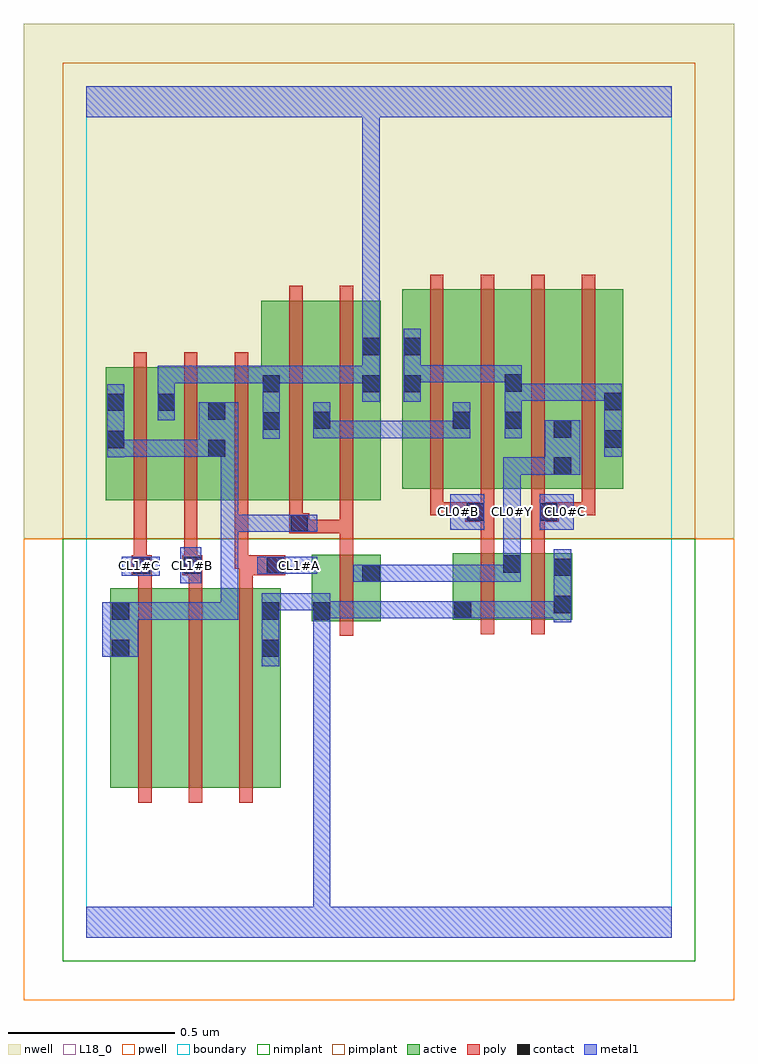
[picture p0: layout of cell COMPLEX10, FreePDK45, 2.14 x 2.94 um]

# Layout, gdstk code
import gdstk
lib = gdstk.Library(unit=1e-6, precision=1e-09)
def R(c, l, rs):  # rectangles x0, y0, x1, y1
    for r in rs: c.add(gdstk.rectangle(r[:2], r[2:], *l))
def A(c, l, x, y, w, h, nx, ny, dx, dy):  # array of equal rectangles
    R(c, l, [(x+i*dx, y+j*dy, x+i*dx+w, y+j*dy+h) for i in range(nx) for j in range(ny)])
active = (1, 0)
pwell = (2, 0)
nwell = (3, 0)
nimplant = (4, 0)
pimplant = (5, 0)
poly = (9, 0)
contact = (10, 0)
metal1 = (11, 0)
L18_0 = (18, 0)
boundary = (235, 0)

complex10 = lib.new_cell('COMPLEX10')
R(complex10, active, [(0.072,0.45,0.252,1.05), (0.072,0.45,0.132,1.05), (0.252,0.45,0.404,1.05), (0.404,0.45,0.584,1.05), (0.524,0.556,0.584,1.05), (0.678,0.952,0.738,1.152), (0.678,0.952,0.886,1.152), (0.826,0.952,0.886,1.152), (1.102,0.956,1.162,1.156), (1.102,0.956,1.31,1.156), (1.25,0.956,1.462,1.156), (1.25,0.956,1.31,1.154), (1.402,0.956,1.462,1.156), (0.058,1.316,0.27,1.716), (0.058,1.316,0.118,1.716), (0.21,1.316,0.422,1.716), (0.362,1.316,0.586,1.716), (0.526,1.316,0.738,1.916), (0.678,1.316,0.886,1.916), (0.826,1.316,0.886,1.844), (0.95,1.35,1.01,1.95), (0.95,1.35,1.158,1.95), (1.098,1.35,1.158,1.95), (1.098,1.35,1.314,1.95), (1.254,1.35,1.462,1.95), (1.402,1.35,1.614,1.95), (1.554,1.35,1.614,1.844), (0.526,1.354,0.586,1.916), (1.402,1.388,1.462,1.844), (0.362,1.442,0.422,1.644), (0.678,1.526,0.738,1.844), (1.254,1.526,1.314,1.844), (0.21,1.58,0.27,1.644)])
R(complex10, pwell, [(-0.188,-0.188,1.948,1.2)])
R(complex10, nwell, [(-0.188,1.2,1.948,2.748)])
R(complex10, nimplant, [(-0.072,-0.072,1.832,1.2)])
R(complex10, pimplant, [(-0.072,1.2,1.832,2.632)])
A(complex10, poly, 0.156, 0.406, 0.04, 0.688, 3, 1, 0.152, 0)
A(complex10, poly, 0.156, 1.054, 0.04, 0.076, 3, 1, 0.152, 0)
A(complex10, poly, 0.142, 1.11, 0.04, 0.202, 3, 1, 0.152, 0)
A(complex10, poly, 1.034, 1.27, 0.04, 0.076, 4, 1, 0.152, 0)
A(complex10, poly, 0.142, 1.272, 0.04, 0.488, 3, 1, 0.152, 0)
A(complex10, poly, 1.034, 1.306, 0.04, 0.688, 4, 1, 0.152, 0)
R(complex10, poly, [(0.762,0.908,0.802,1.196), (1.186,0.912,1.226,1.2), (1.338,0.912,1.378,1.2), (0.136,1.09,0.196,1.15), (0.288,1.09,0.348,1.15), (0.308,1.09,0.348,1.13), (0.308,1.09,0.348,1.13), (0.46,1.09,0.598,1.15), (0.142,1.11,0.182,1.15), (0.142,1.11,0.182,1.15), (0.446,1.11,0.5,1.15), (0.46,1.11,0.5,1.15), (0.762,1.156,0.802,1.256), (1.186,1.16,1.226,1.29), (1.338,1.16,1.378,1.29), (0.61,1.216,0.67,1.276), (0.63,1.216,0.802,1.256), (0.762,1.216,0.802,1.256), (0.762,1.216,0.802,1.256), (0.762,1.216,0.802,1.256), (0.762,1.216,0.802,1.256), (0.762,1.216,0.802,1.256), (0.762,1.216,0.802,1.312), (0.61,1.236,0.65,1.312), (1.14,1.25,1.226,1.31), (1.338,1.25,1.42,1.31), (1.034,1.27,1.074,1.31), (1.034,1.27,1.226,1.31), (1.186,1.27,1.226,1.31), (1.186,1.27,1.226,1.31), (1.186,1.27,1.226,1.31), (1.186,1.27,1.226,1.31), (1.338,1.27,1.378,1.31), (1.338,1.27,1.378,1.31), (1.338,1.27,1.53,1.31), (1.49,1.27,1.53,1.31), (1.49,1.27,1.53,1.31), (1.49,1.27,1.53,1.31), (0.61,1.272,0.65,1.96), (0.762,1.272,0.802,1.96)])
R(complex10, contact, [(0.076,0.844,0.128,0.896), (0.528,0.844,0.58,0.896), (0.076,0.956,0.128,1.008), (0.528,0.956,0.58,1.008), (0.682,0.956,0.734,1.008), (1.106,0.96,1.158,1.012), (1.406,0.976,1.458,1.028), (0.83,1.07,0.882,1.122), (1.406,1.088,1.458,1.14), (0.14,1.094,0.192,1.146), (0.292,1.094,0.344,1.146), (0.542,1.094,0.594,1.146), (1.254,1.098,1.306,1.15), (0.614,1.22,0.666,1.272), (1.144,1.254,1.196,1.306), (1.364,1.254,1.416,1.306), (1.406,1.392,1.458,1.444), (0.366,1.446,0.418,1.498), (0.062,1.472,0.114,1.524), (1.558,1.474,1.61,1.526), (1.406,1.504,1.458,1.556), (0.53,1.528,0.582,1.58), (0.682,1.53,0.734,1.582), (1.102,1.53,1.154,1.582), (1.258,1.53,1.31,1.582), (0.366,1.558,0.418,1.61), (0.062,1.584,0.114,1.636), (0.214,1.584,0.266,1.636), (1.558,1.586,1.61,1.638), (0.53,1.64,0.582,1.692), (0.83,1.64,0.882,1.692), (0.954,1.64,1.006,1.692), (1.258,1.642,1.31,1.694), (0.83,1.752,0.882,1.804), (0.954,1.752,1.006,1.804)])
R(complex10, metal1, [(0,0,1.76,0.092), (0.682,0.04,0.734,0.092), (0.682,0.04,0.734,0.092), (0.682,0.04,0.734,0.092), (0.682,0.04,0.734,0.092), (0.682,0.04,0.734,0.092), (0.682,0.04,0.734,0.092), (0.682,0.04,0.734,0.092), (0.682,0.04,0.734,0.092), (0.682,0.04,0.734,0.092), (0.682,0.04,0.734,0.092), (0.682,0.04,0.734,0.092), (0.682,0.04,0.734,0.092), (0.682,0.04,0.734,0.092), (0.682,0.04,0.734,0.092), (0.682,0.04,0.734,0.98), (0.528,0.816,0.58,1.036), (0.048,0.844,0.156,1.008), (0.682,0.928,0.734,0.98), (0.682,0.928,0.734,0.98), (0.682,0.928,0.734,1.036), (1.406,0.948,1.458,1.168), (0.104,0.956,0.156,1.008), (0.104,0.956,0.156,1.008), (0.104,0.956,0.266,1.008), (0.214,0.956,0.266,1.008), (0.214,0.956,0.266,1.008), (0.214,0.956,0.266,1.008), (0.214,0.956,0.456,1.008), (0.404,0.956,0.456,1.008), (0.404,0.956,0.456,1.008), (0.404,0.956,0.456,1.008), (0.404,0.956,0.456,1.272), (0.682,0.96,0.734,1.012), (0.682,0.96,0.734,1.012), (0.682,0.96,0.844,1.012), (0.792,0.96,0.844,1.012), (0.792,0.96,1.02,1.012), (0.968,0.96,1.02,1.012), (0.968,0.96,1.02,1.012), (0.968,0.96,1.02,1.012), (0.968,0.96,1.13,1.012), (1.078,0.96,1.186,1.012), (1.134,0.96,1.186,1.012), (1.134,0.96,1.186,1.012), (1.134,0.96,1.32,1.012), (1.268,0.96,1.32,1.012), (1.268,0.96,1.458,1.012), (1.406,0.96,1.458,1.012), (1.406,0.96,1.458,1.012), (0.528,0.984,0.58,1.036), (0.528,0.984,0.58,1.036), (0.528,0.984,0.734,1.036), (0.682,0.984,0.734,1.036), (0.682,0.984,0.734,1.036), (0.282,1.066,0.346,1.174), (0.802,1.07,0.91,1.122), (0.858,1.07,1.02,1.122), (0.968,1.07,1.02,1.122), (0.968,1.07,1.02,1.122), (0.968,1.07,1.02,1.122), (0.968,1.07,1.13,1.122), (1.078,1.07,1.13,1.122), (1.078,1.07,1.13,1.122), (1.078,1.07,1.13,1.122), (1.078,1.07,1.306,1.122), (1.254,1.07,1.306,1.178), (0.106,1.088,0.22,1.146), (0.514,1.094,0.694,1.146), (1.254,1.126,1.306,1.278), (0.404,1.22,0.456,1.272), (0.404,1.22,0.456,1.272), (0.404,1.22,0.456,1.272), (0.404,1.22,0.566,1.272), (0.404,1.22,0.456,1.498), (0.514,1.22,0.566,1.272), (0.514,1.22,0.638,1.272), (0.586,1.22,0.694,1.272), (1.094,1.226,1.196,1.334), (1.254,1.226,1.306,1.334), (1.364,1.226,1.466,1.334), (1.254,1.282,1.306,1.444), (1.254,1.392,1.306,1.444), (1.254,1.392,1.306,1.444), (1.254,1.392,1.306,1.444), (1.254,1.392,1.306,1.444), (1.254,1.392,1.306,1.444), (1.254,1.392,1.43,1.444), (1.378,1.392,1.486,1.556), (0.062,1.444,0.114,1.664), (0.062,1.446,0.114,1.498), (0.062,1.446,0.114,1.498), (0.062,1.446,0.28,1.498), (0.228,1.446,0.28,1.498), (0.228,1.446,0.28,1.498), (0.228,1.446,0.28,1.498), (0.228,1.446,0.39,1.498), (0.338,1.446,0.456,1.61), (1.558,1.446,1.61,1.666), (0.53,1.5,0.582,1.72), (0.682,1.502,0.734,1.61), (0.682,1.502,0.844,1.554), (0.792,1.502,0.844,1.554), (0.792,1.502,0.844,1.554), (0.792,1.502,0.844,1.554), (0.792,1.502,1.02,1.554), (0.968,1.502,1.02,1.554), (0.968,1.502,1.02,1.554), (0.968,1.502,1.02,1.554), (0.968,1.502,1.154,1.554), (1.102,1.502,1.154,1.61), (1.258,1.502,1.31,1.722), (0.214,1.556,0.266,1.664), (0.214,1.612,0.266,1.72), (0.83,1.612,0.882,1.832), (0.954,1.612,1.006,1.832), (1.258,1.614,1.43,1.666), (1.378,1.614,1.43,1.666), (1.378,1.614,1.43,1.666), (1.378,1.614,1.43,1.666), (1.378,1.614,1.61,1.666), (1.558,1.614,1.61,1.666), (1.558,1.614,1.61,1.666), (0.214,1.668,0.266,1.72), (0.214,1.668,0.266,1.72), (0.214,1.668,0.266,1.72), (0.214,1.668,0.456,1.72), (0.404,1.668,0.456,1.72), (0.404,1.668,0.456,1.72), (0.404,1.668,0.456,1.72), (0.404,1.668,0.456,1.72), (0.404,1.668,0.456,1.72), (0.404,1.668,0.582,1.72), (0.53,1.668,0.582,1.72), (0.53,1.668,0.582,1.72), (0.53,1.668,0.734,1.72), (0.682,1.668,0.734,1.72), (0.682,1.668,0.734,1.72), (0.682,1.668,0.734,1.72), (0.682,1.668,0.882,1.72), (0.954,1.67,1.02,1.722), (0.968,1.67,1.02,1.722), (0.968,1.67,1.196,1.722), (1.144,1.67,1.196,1.722), (1.144,1.67,1.196,1.722), (1.144,1.67,1.196,1.722), (1.144,1.67,1.31,1.722), (0.83,1.78,0.882,1.832), (0.83,1.78,0.882,1.832), (0.83,1.78,0.882,1.832), (0.83,1.78,0.882,1.832), (0.83,1.78,0.882,1.832), (0.83,1.78,0.882,1.832), (0.83,1.78,0.882,1.832), (0.83,1.78,0.882,1.832), (0.83,1.78,0.882,1.832), (0.83,1.78,0.882,1.832), (0.83,1.78,0.882,2.52), (0,2.468,1.76,2.56), (0.83,2.468,0.882,2.52), (0.83,2.468,0.882,2.52)])
A(complex10, L18_0, 1.094, 1.254, 0.052, 0.052, 3, 1, 0.16, 0)
R(complex10, L18_0, [(0,0,1.76,0.092), (0.682,0.04,0.734,0.092), (0.682,0.04,0.734,0.092), (0.682,0.04,0.734,0.092), (0.682,0.04,0.734,0.092), (0.682,0.04,0.734,0.092), (0.682,0.04,0.734,0.092), (0.682,0.04,0.734,0.092), (0.682,0.04,0.734,0.092), (0.682,0.04,0.734,0.092), (0.682,0.04,0.734,0.092), (0.682,0.04,0.734,0.092), (0.682,0.04,0.734,0.092), (0.682,0.04,0.734,0.092), (0.682,0.04,0.734,0.092), (0.682,0.04,0.734,0.98), (0.528,0.816,0.58,1.036), (0.682,0.928,0.734,1.036), (0.682,0.928,0.734,0.98), (0.682,0.928,0.734,0.98), (1.406,0.948,1.458,1.168), (0.682,0.96,0.734,1.012), (0.682,0.96,0.734,1.012), (0.682,0.96,0.844,1.012), (0.792,0.96,0.844,1.012), (0.792,0.96,1.02,1.012), (0.968,0.96,1.02,1.012), (0.968,0.96,1.02,1.012), (0.968,0.96,1.02,1.012), (0.968,0.96,1.13,1.012), (1.078,0.96,1.186,1.012), (1.134,0.96,1.186,1.012), (1.134,0.96,1.186,1.012), (1.134,0.96,1.32,1.012), (1.268,0.96,1.32,1.012), (1.268,0.96,1.458,1.012), (1.406,0.96,1.458,1.012), (1.406,0.96,1.458,1.012), (0.528,0.984,0.58,1.036), (0.528,0.984,0.58,1.036), (0.528,0.984,0.734,1.036), (0.682,0.984,0.734,1.036), (0.682,0.984,0.734,1.036), (0.282,1.066,0.346,1.174), (0.802,1.07,0.91,1.122), (0.858,1.07,1.02,1.122), (0.968,1.07,1.02,1.122), (0.968,1.07,1.02,1.122), (0.968,1.07,1.02,1.122), (0.968,1.07,1.13,1.122), (1.078,1.07,1.13,1.122), (1.078,1.07,1.13,1.122), (1.078,1.07,1.13,1.122), (1.078,1.07,1.306,1.122), (1.254,1.07,1.306,1.178), (0.106,1.088,0.22,1.146), (0.134,1.094,0.186,1.146), (0.294,1.094,0.346,1.146), (0.514,1.094,0.694,1.146), (0.614,1.094,0.666,1.146), (1.254,1.126,1.306,1.278), (1.094,1.226,1.196,1.334), (1.254,1.226,1.306,1.334), (1.364,1.226,1.466,1.334), (1.254,1.282,1.306,1.444), (1.254,1.392,1.306,1.444), (1.254,1.392,1.306,1.444), (1.254,1.392,1.306,1.444), (1.254,1.392,1.306,1.444), (1.254,1.392,1.306,1.444), (1.254,1.392,1.43,1.444), (1.378,1.392,1.486,1.556), (0.53,1.5,0.582,1.72), (0.214,1.556,0.266,1.664), (0.214,1.612,0.266,1.72), (0.83,1.612,0.882,1.832), (0.214,1.668,0.266,1.72), (0.214,1.668,0.266,1.72), (0.214,1.668,0.266,1.72), (0.214,1.668,0.456,1.72), (0.404,1.668,0.456,1.72), (0.404,1.668,0.456,1.72), (0.404,1.668,0.456,1.72), (0.404,1.668,0.456,1.72), (0.404,1.668,0.456,1.72), (0.404,1.668,0.582,1.72), (0.53,1.668,0.582,1.72), (0.53,1.668,0.582,1.72), (0.53,1.668,0.734,1.72), (0.682,1.668,0.734,1.72), (0.682,1.668,0.734,1.72), (0.682,1.668,0.734,1.72), (0.682,1.668,0.882,1.72), (0.83,1.78,0.882,1.832), (0.83,1.78,0.882,1.832), (0.83,1.78,0.882,1.832), (0.83,1.78,0.882,1.832), (0.83,1.78,0.882,1.832), (0.83,1.78,0.882,1.832), (0.83,1.78,0.882,1.832), (0.83,1.78,0.882,1.832), (0.83,1.78,0.882,1.832), (0.83,1.78,0.882,1.832), (0.83,1.78,0.882,2.52), (0,2.468,1.76,2.56), (0.83,2.468,0.882,2.52), (0.83,2.468,0.882,2.52)])
R(complex10, boundary, [(0,0,1.76,2.56)])
complex10.add(gdstk.Label('CL0#B', (1.12,1.28), layer=11, texttype=0))
complex10.add(gdstk.Label('CL0#C', (1.44,1.28), layer=11, texttype=0))
complex10.add(gdstk.Label('CL0#Y', (1.28,1.28), layer=11, texttype=0))
complex10.add(gdstk.Label('CL1#A', (0.64,1.12), layer=11, texttype=0))
complex10.add(gdstk.Label('CL1#B', (0.32,1.12), layer=11, texttype=0))
complex10.add(gdstk.Label('CL1#C', (0.16,1.12), layer=11, texttype=0))

lib.write_gds('COMPLEX10.gds')
